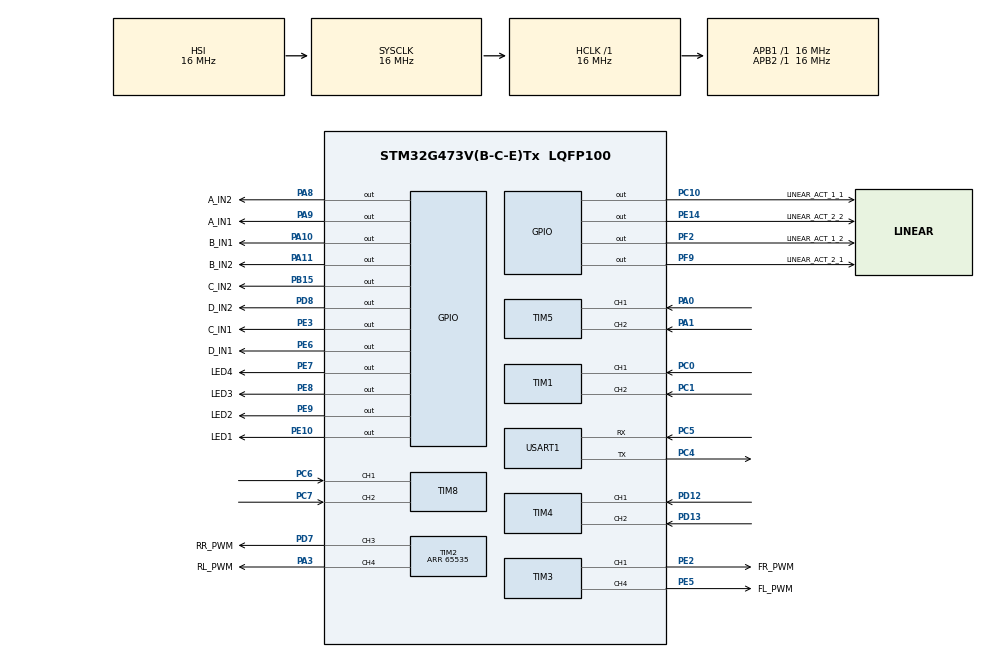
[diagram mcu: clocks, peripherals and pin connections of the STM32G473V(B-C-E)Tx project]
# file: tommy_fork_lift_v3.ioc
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Mcu.Family=STM32G4
Mcu.Name=STM32G473V(B-C-E)Tx
Mcu.Package=LQFP100
NVIC.PriorityGroup=NVIC_PRIORITYGROUP_4
PA0.Signal=S_TIM5_CH1
PA1.Signal=S_TIM5_CH2
PA10.GPIO_Label=B_IN1
PA10.GPIO_Speed=GPIO_SPEED_FREQ_LOW
PA10.Signal=GPIO_Output
PA11.GPIO_Label=B_IN2
PA11.GPIO_Speed=GPIO_SPEED_FREQ_LOW
PA11.Signal=GPIO_Output
PA13.Mode=Serial_Wire
PA13.Signal=SYS_JTMS-SWDIO
PA14.Mode=Serial_Wire
PA14.Signal=SYS_JTCK-SWCLK
PA3.GPIO_Label=RL_PWM
PA3.Signal=S_TIM2_CH4
PA8.GPIO_Label=A_IN2
PA8.GPIO_Speed=GPIO_SPEED_FREQ_LOW
PA8.Signal=GPIO_Output
PA9.GPIO_Label=A_IN1
PA9.GPIO_Speed=GPIO_SPEED_FREQ_LOW
PA9.Signal=GPIO_Output
PB15.GPIO_Label=C_IN2
PB15.Signal=GPIO_Output
PC0.Signal=S_TIM1_CH1
PC1.Signal=S_TIM1_CH2
PC10.GPIO_Label=LINEAR_ACT_1_1
PC10.Signal=GPIO_Output
PC14-OSC32_IN.Mode=LSE-External-Oscillator
PC14-OSC32_IN.Signal=RCC_OSC32_IN
PC15-OSC32_OUT.Mode=LSE-External-Oscillator
PC15-OSC32_OUT.Signal=RCC_OSC32_OUT
PC4.Mode=Asynchronous
PC4.Signal=USART1_TX
PC5.Mode=Asynchronous
PC5.Signal=USART1_RX
PC6.Signal=S_TIM8_CH1
PC7.Signal=S_TIM8_CH2
PD12.Signal=S_TIM4_CH1
PD13.Signal=S_TIM4_CH2
PD7.GPIO_Label=RR_PWM
PD7.Signal=S_TIM2_CH3
PD8.GPIO_Label=D_IN2
PD8.Signal=GPIO_Output
PE10.GPIO_Label=LED1
PE10.Signal=GPIO_Output
PE14.GPIO_Label=LINEAR_ACT_2_2
PE14.Signal=GPIO_Output
PE2.GPIO_Label=FR_PWM
PE2.Signal=S_TIM3_CH1
PE3.GPIO_Label=C_IN1
PE3.Signal=GPIO_Output
PE5.GPIO_Label=FL_PWM
PE5.Signal=S_TIM3_CH4
PE6.GPIO_Label=D_IN1
PE6.Signal=GPIO_Output
PE7.GPIO_Label=LED4
PE7.Signal=GPIO_Output
PE8.GPIO_Label=LED3
PE8.Signal=GPIO_Output
PE9.GPIO_Label=LED2
PE9.Signal=GPIO_Output
PF0-OSC_IN.Mode=HSE-External-Oscillator
PF0-OSC_IN.Signal=RCC_OSC_IN
PF1-OSC_OUT.Mode=HSE-External-Oscillator
PF1-OSC_OUT.Signal=RCC_OSC_OUT
PF2.GPIO_Label=LINEAR_ACT_1_2
PF2.Signal=GPIO_Output
PF9.GPIO_Label=LINEAR_ACT_2_1
PF9.Signal=GPIO_Output
ProjectManager.HeapSize=0x200
ProjectManager.StackSize=0x400
ProjectManager.TargetToolchain=STM32CubeIDE
RCC.AHBFreq_Value=16000000
RCC.APB1Freq_Value=16000000
RCC.APB1TimFreq_Value=16000000
RCC.APB2Freq_Value=16000000
RCC.APB2TimFreq_Value=16000000
RCC.CortexFreq_Value=16000000
RCC.EXTERNAL_CLOCK_VALUE=12288000
RCC.HCLKFreq_Value=16000000
RCC.HSE_VALUE=8000000
RCC.HSI48_VALUE=48000000
RCC.HSI_VALUE=16000000
RCC.SYSCLKFreq_VALUE=16000000
RCC.USBFreq_Value=64000000
RCC.VCOOutputFreq_Value=128000000
SH.S_TIM1_CH1.0=TIM1_CH1,Encoder_Interface
SH.S_TIM1_CH2.0=TIM1_CH2,Encoder_Interface
SH.S_TIM2_CH3.0=TIM2_CH3,PWM Generation3 CH3
SH.S_TIM2_CH4.0=TIM2_CH4,PWM Generation4 CH4
SH.S_TIM3_CH1.0=TIM3_CH1,PWM Generation1 CH1
SH.S_TIM3_CH4.0=TIM3_CH4,PWM Generation4 CH4
SH.S_TIM4_CH1.0=TIM4_CH1,Encoder_Interface
SH.S_TIM4_CH2.0=TIM4_CH2,Encoder_Interface
SH.S_TIM5_CH1.0=TIM5_CH1,Encoder_Interface
SH.S_TIM5_CH2.0=TIM5_CH2,Encoder_Interface
SH.S_TIM8_CH1.0=TIM8_CH1,Encoder_Interface
SH.S_TIM8_CH2.0=TIM8_CH2,Encoder_Interface
TIM2.AutoReloadPreload=TIM_AUTORELOAD_PRELOAD_ENABLE
TIM2.Channel-PWM\ Generation3\ CH3=TIM_CHANNEL_3
TIM2.Channel-PWM\ Generation4\ CH4=TIM_CHANNEL_4
TIM2.PeriodNoDither=65535
TIM3.AutoReloadPreload=TIM_AUTORELOAD_PRELOAD_ENABLE
TIM3.Channel-PWM\ Generation1\ CH1=TIM_CHANNEL_1
TIM3.Channel-PWM\ Generation4\ CH4=TIM_CHANNEL_4
USART1.VirtualMode-Asynchronous=VM_ASYNC
VP_SYS_VS_DBSignals.Mode=DisableDeadBatterySignals
board=custom

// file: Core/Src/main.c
/* USER CODE BEGIN Header */
/**
  ******************************************************************************
  * @file           : main.c
  * @brief          : Main program body
  ******************************************************************************
  * @attention
  *
  * Copyright (c) 2025 STMicroelectronics.
  * All rights reserved.
  *
  * This software is licensed under terms that can be found in the LICENSE file
  * in the root directory of this software component.
  * If no LICENSE file comes with this software, it is provided AS-IS.
  *
  ******************************************************************************
  */
/* USER CODE END Header */
#include "main.h"
#include "tim.h"
#include "usart.h"
#include "gpio.h"

/* USER CODE BEGIN Includes */
#include "controller.h"
#include "movement.h"
/* USER CODE END Includes */

/* USER CODE BEGIN PV */
BaseVelocity test_base_vel = {0, 0, 0};
int time_stamp = 0;
/* USER CODE END PV */

void SystemClock_Config(void);

int main(void)
{

  /* MCU Configuration--------------------------------------------------------*/

  /* Reset of all peripherals, Initializes the Flash interface and the Systick. */
  HAL_Init();

  /* Configure the system clock */
  SystemClock_Config();

  /* Initialize all configured peripherals */
  MX_GPIO_Init();
  MX_TIM3_Init();
  MX_TIM1_Init();
  MX_TIM2_Init();
  MX_TIM4_Init();
  MX_TIM5_Init();
  MX_TIM8_Init();
  MX_USART1_UART_Init();
  /* USER CODE BEGIN 2 */
  HAL_TIM_PWM_Start(&htim2, TIM_CHANNEL_3);
  HAL_TIM_PWM_Start(&htim2, TIM_CHANNEL_4);
  HAL_TIM_PWM_Start(&htim3, TIM_CHANNEL_1);
  HAL_TIM_PWM_Start(&htim3, TIM_CHANNEL_4);

  HAL_TIM_Base_Start_IT(&htim1);
  HAL_TIM_Encoder_Start_IT(&htim1, TIM_CHANNEL_ALL);
  HAL_TIM_Base_Start_IT(&htim4);
  HAL_TIM_Encoder_Start_IT(&htim4, TIM_CHANNEL_ALL);
  HAL_TIM_Base_Start_IT(&htim5);
  HAL_TIM_Encoder_Start_IT(&htim5, TIM_CHANNEL_ALL);
  HAL_TIM_Base_Start_IT(&htim8);
  HAL_TIM_Encoder_Start_IT(&htim8, TIM_CHANNEL_ALL);

  HAL_GPIO_WritePin(LED1_GPIO_Port, LED1_Pin, GPIO_PIN_SET);
  HAL_GPIO_WritePin(LED2_GPIO_Port, LED2_Pin, GPIO_PIN_SET);
  HAL_GPIO_WritePin(LED3_GPIO_Port, LED3_Pin, GPIO_PIN_SET);
  HAL_GPIO_WritePin(LED4_GPIO_Port, LED4_Pin, GPIO_PIN_SET);

  HAL_GPIO_WritePin(C_IN1_GPIO_Port, C_IN1_Pin, GPIO_PIN_SET);
  HAL_GPIO_WritePin(C_IN2_GPIO_Port, C_IN2_Pin, GPIO_PIN_RESET);
  HAL_GPIO_WritePin(B_IN1_GPIO_Port, B_IN1_Pin, GPIO_PIN_SET);
  HAL_GPIO_WritePin(B_IN2_GPIO_Port, B_IN2_Pin, GPIO_PIN_RESET);
  HAL_GPIO_WritePin(D_IN1_GPIO_Port, D_IN1_Pin, GPIO_PIN_SET);
  HAL_GPIO_WritePin(D_IN2_GPIO_Port, D_IN2_Pin, GPIO_PIN_RESET);
  HAL_GPIO_WritePin(A_IN1_GPIO_Port, A_IN1_Pin, GPIO_PIN_SET);
  HAL_GPIO_WritePin(A_IN2_GPIO_Port, A_IN2_Pin, GPIO_PIN_RESET);
  HAL_GPIO_WritePin(LINEAR_ACT_1_1_GPIO_Port, LINEAR_ACT_1_1_Pin, GPIO_PIN_SET);
  HAL_GPIO_WritePin(LINEAR_ACT_1_2_GPIO_Port, LINEAR_ACT_1_2_Pin, GPIO_PIN_RESET);
  HAL_GPIO_WritePin(LINEAR_ACT_2_1_GPIO_Port, LINEAR_ACT_2_1_Pin, GPIO_PIN_SET);
  HAL_GPIO_WritePin(LINEAR_ACT_2_2_GPIO_Port, LINEAR_ACT_2_2_Pin, GPIO_PIN_RESET);
  HAL_GPIO_WritePin(GPIOB, GPIO_PIN_15, GPIO_PIN_RESET);
  HAL_GPIO_WritePin(GPIOD, GPIO_PIN_8, GPIO_PIN_RESET);

  // foo();

  // test_base_vel.x_vel = 0;
  // test_base_vel.y_vel = ROBOT_MAX_X_VELOCITY * 0.5;
  // test_base_vel.z_vel = 0;
  // movement_control(test_base_vel);

  // wheel_control(FRONT_LEFT, 13106);
  // wheel_control(FRONT_RIGHT, 13106);
  // wheel_control(REAR_LEFT, 13106);
  // wheel_control(REAR_RIGHT, 13106);

  /* USER CODE END 2 */

  /* Infinite loop */
  while (1)
  {

    /* USER CODE BEGIN 3 */
    HAL_Delay(1);
  }
  /* USER CODE END 3 */
}

void SystemClock_Config(void)
{
  RCC_OscInitTypeDef RCC_OscInitStruct = {0};
  RCC_ClkInitTypeDef RCC_ClkInitStruct = {0};

  /** Configure the main internal regulator output voltage
  */
  HAL_PWREx_ControlVoltageScaling(PWR_REGULATOR_VOLTAGE_SCALE1);

  /** Initializes the RCC Oscillators according to the specified parameters
  * in the RCC_OscInitTypeDef structure.
  */
  RCC_OscInitStruct.OscillatorType = RCC_OSCILLATORTYPE_HSI;
  RCC_OscInitStruct.HSIState = RCC_HSI_ON;
  RCC_OscInitStruct.HSICalibrationValue = RCC_HSICALIBRATION_DEFAULT;
  RCC_OscInitStruct.PLL.PLLState = RCC_PLL_NONE;
  if (HAL_RCC_OscConfig(&RCC_OscInitStruct) != HAL_OK)
  {
    Error_Handler();
  }

  /** Initializes the CPU, AHB and APB buses clocks
  */
  RCC_ClkInitStruct.ClockType = RCC_CLOCKTYPE_HCLK|RCC_CLOCKTYPE_SYSCLK
                              |RCC_CLOCKTYPE_PCLK1|RCC_CLOCKTYPE_PCLK2;
  RCC_ClkInitStruct.SYSCLKSource = RCC_SYSCLKSOURCE_HSI;
  RCC_ClkInitStruct.AHBCLKDivider = RCC_SYSCLK_DIV1;
  RCC_ClkInitStruct.APB1CLKDivider = RCC_HCLK_DIV1;
  RCC_ClkInitStruct.APB2CLKDivider = RCC_HCLK_DIV1;

  if (HAL_RCC_ClockConfig(&RCC_ClkInitStruct, FLASH_LATENCY_0) != HAL_OK)
  {
    Error_Handler();
  }
}

void Error_Handler(void)
{
  __disable_irq();
  while (1)
  {
  }
}
